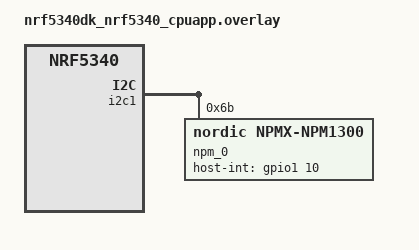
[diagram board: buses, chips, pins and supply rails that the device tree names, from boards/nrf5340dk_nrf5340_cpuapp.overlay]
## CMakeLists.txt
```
#
# Copyright (c) 2022 Nordic Semiconductor ASA
#
# SPDX-License-Identifier: BSD-3-Clause
#

cmake_minimum_required(VERSION 3.20.0)
find_package(Zephyr REQUIRED HINTS $ENV{ZEPHYR_BASE})
project(pmic_buck)

FILE(GLOB app_sources src/*.c)
target_sources(app PRIVATE ${app_sources})
```

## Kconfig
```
#
# Copyright (c) 2022 Nordic Semiconductor ASA
#
# SPDX-License-Identifier: BSD-3-Clause
#

mainmenu "BUCK sample"

choice
	bool "Testcase selection."
	default TESTCASE_SET_BUCK_VOLTAGE

config TESTCASE_SET_BUCK_VOLTAGE
	bool "Set output voltage of BUCK1 (simple)."

config TESTCASE_OUTPUT_VOLTAGE
	bool "Set output voltage of BUCK1 (advanced)."

config TESTCASE_RETENTION_VOLTAGE
	bool "Set retention voltage of BUCK1 with selected external pin."

config TESTCASE_ENABLE_BUCKS_USING_PIN
	bool "Set enable mode of BUCK1 with selected external pin."

endchoice

source "Kconfig.zephyr"
```

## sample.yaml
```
#
# Copyright (c) 2023 Nordic Semiconductor ASA
#
# SPDX-License-Identifier: BSD-3-Clause
#

sample:
  description: Sample for nPM1300 PMIC BUCKs
  name: nPM1300 PMIC BUCKs

common:
  integration_platforms:
    - nrf5340dk_nrf5340_cpuapp
    - nrf52840dk_nrf52840
  platform_allow: nrf5340dk_nrf5340_cpuapp nrf52840dk_nrf52840
  tags: pmic
  timeout: 30

tests:
  sample.buck.set_buck_voltage:
    extra_args: CONFIG_TESTCASE_SET_BUCK_VOLTAGE=y
                CONFIG_NPMX_DEVICE_NPM1300=y
    harness: console
    harness_config:
      fixture: nPM1300_setup
      type: multi_line
      ordered: true
      regex:
        - "PMIC device OK."
        - "Test setting buck voltage."
        - "Test setting buck voltage OK."

  sample.buck.output_voltage:
    extra_args: CONFIG_TESTCASE_OUTPUT_VOLTAGE=y
                CONFIG_NPMX_DEVICE_NPM1300=y
    harness: console
    harness_config:
      fixture: nPM1300_setup
      type: multi_line
      ordered: true
      regex:
        - "PMIC device OK."
        - "Test output voltage."
        - "Voltage BUCK1:"
        - "Test output voltage OK."

  sample.buck.retention_voltage:
    extra_args: CONFIG_TESTCASE_RETENTION_VOLTAGE=y
                CONFIG_NPMX_DEVICE_NPM1300=y
    harness: console
    harness_config:
      fixture: nPM1300_setup
      type: multi_line
      ordered: true
      regex:
        - "PMIC device OK."
        - "Test retention voltage."
        - "Test retention voltage OK."

  sample.buck.enable_bucks_using_pin:
    extra_args: CONFIG_TESTCASE_ENABLE_BUCKS_USING_PIN=y
                CONFIG_NPMX_DEVICE_NPM1300=y
    harness: console
    harness_config:
      fixture: nPM1300_setup
      type: multi_line
      ordered: true
      regex:
        - "PMIC device OK."
        - "Test enable buck using connected pin."
        - "Test enable buck using connected pin OK."
```

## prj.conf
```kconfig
#
# Copyright (c) 2022-2023 Nordic Semiconductor ASA
#
# SPDX-License-Identifier: BSD-3-Clause
#

CONFIG_SERIAL=y
CONFIG_CONSOLE=y
CONFIG_UART_CONSOLE=y

CONFIG_I2C=y
CONFIG_NPMX=y
CONFIG_NPMX_DEVICE_NPM1300=y
CONFIG_LOG=y
CONFIG_NPMX_LOG_LEVEL_DBG=y
CONFIG_SHELL=y
CONFIG_ASSERT=y

# Core Dump configuraion
CONFIG_DEBUG_COREDUMP=y
CONFIG_DEBUG_COREDUMP_BACKEND_LOGGING=y
```

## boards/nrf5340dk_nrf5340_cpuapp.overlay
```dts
/*
 * Copyright (c) 2022-2023 Nordic Semiconductor ASA
 *
 * SPDX-License-Identifier: BSD-3-Clause
 */

&i2c1 {
	compatible = "nordic,nrf-twim";
	status = "okay";

	npm_0: npm1300@6b {
		status = "okay";
		compatible = "nordic,npmx-npm1300";
		reg = <0x6b>;
		host-int-gpios = <&gpio1 10 (GPIO_PULL_DOWN | GPIO_ACTIVE_HIGH)>;
		pmic-int-pin = <0>;
	};
};

&i2c1_default {
	group1 {
		bias-pull-up;
	};
};
```

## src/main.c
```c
/*
 * Copyright (c) 2022-2023 Nordic Semiconductor ASA
 *
 * SPDX-License-Identifier: BSD-3-Clause
 */

#include <zephyr/logging/log.h>
#include <zephyr/kernel.h>
#include <npmx_buck.h>
#include <npmx_driver.h>
#include <npmx_gpio.h>

#define LOG_MODULE_NAME pmic_buck
LOG_MODULE_REGISTER(LOG_MODULE_NAME);

/* Values used to refer to the specified buck converter instance. */
#define BUCK1_IDX 0
#define BUCK2_IDX 1

#if CONFIG_TESTCASE_SET_BUCK_VOLTAGE || CONFIG_TESTCASE_OUTPUT_VOLTAGE ||                          \
     CONFIG_TESTCASE_ENABLE_BUCKS_USING_PIN
/**
 * @brief Function for setting the buck output voltage for the specified buck converter.
 *
 * @param[in] p_buck  Pointer to the instance of buck converter.
 * @param[in] voltage Selected voltage.
 *
 * @retval NPMX_SUCCESS  Operation performed successfully.
 * @retval NPMX_ERROR_IO Error using IO bus line.
 */
static npmx_error_t set_buck_voltage(npmx_buck_t *p_buck, npmx_buck_voltage_t voltage)
{
	npmx_error_t status;

	/* Set the output voltage. */
	status = npmx_buck_normal_voltage_set(p_buck, voltage);
	if (status != NPMX_SUCCESS) {
		LOG_ERR("Unable to set normal voltage.");
		return status;
	}

	/* Have to be called each time to change output voltage. */
	status = npmx_buck_vout_select_set(p_buck, NPMX_BUCK_VOUT_SELECT_SOFTWARE);
	if (status != NPMX_SUCCESS) {
		LOG_ERR("Unable to select vout reference.");
		return status;
	}
	return NPMX_SUCCESS;
}
#endif

#if CONFIG_TESTCASE_SET_BUCK_VOLTAGE
/**
 * @brief Function for testing simple use-case of buck voltage.
 *
 * @param[in] p_buck Pointer to the instance of buck converter.
 */
static void test_set_buck_voltage(npmx_buck_t *p_buck)
{
	LOG_INF("Test setting buck voltage.");

	/* Set output voltage for buck converter. */
	if (set_buck_voltage(p_buck, NPMX_BUCK_VOLTAGE_2V4) != NPMX_SUCCESS) {
		LOG_ERR("Unable to set buck voltage.");
		return;


    }

	LOG_INF("Test setting buck voltage OK.");
}
#endif

#if CONFIG_TESTCASE_OUTPUT_VOLTAGE
/**
 * @brief Function for reading and logging selected voltage
 *        from the specified buck converter instance.
 *
 * This function does not read the actual output voltage of the buck converter. For this sample, it
 * is used only to read and log voltage for BUCK1.
 *
 * @param[in] p_buck Pointer to the instance of buck converter.
 */
static void get_and_log_voltage(npmx_buck_t *p_buck)
{
	npmx_buck_voltage_t buck_voltage;

	if (npmx_buck_status_voltage_get(p_buck, &buck_voltage) != NPMX_SUCCESS) {
		LOG_ERR("Unable to get voltage status.");
	}

	uint32_t voltage_mv;

	if (npmx_buck_voltage_convert_to_mv(buck_voltage, &voltage_mv)) {
		LOG_INF("Voltage BUCK1: %u mV.", voltage_mv);
	} else {
		LOG_ERR("Unable to convert voltage value to mV.");
	}
}

/**
 * @brief Function for testing buck voltage range,
 *        from start_voltage to NPMX_BUCK_VOLTAGE_MAX with step every 200 ms.
 *
 * @param[in] p_buck        Pointer to the instance of buck converter.
 * @param[in] start_voltage Start test voltage level.
 */
static void verify_buck_voltage(npmx_buck_t *p_buck, npmx_buck_voltage_t start_voltage)
{
	for (uint8_t i = start_voltage; i <= NPMX_BUCK_VOLTAGE_MAX; i++) {
		/* Set the expected output voltage. */
		set_buck_voltage(p_buck, (npmx_buck_voltage_t)i);

		/* Wait some time to stabilize and measure the output voltage. */
		k_msleep(200);

		/* Check in PMIC device which voltage is selected. */
		get_and_log_voltage(p_buck);
	}
}

/**
 * @brief Function for testing the output voltage of BUCK1.
 *
 * @param[in] p_buck Pointer to the instance of buck converter.
 */
static void test_output_voltage(npmx_buck_t *p_buck)
{
	LOG_INF("Test output voltage.");

	npmx_error_t status;

	/* Voltage output testing for BUCK1. */
	verify_buck_voltage(p_buck, NPMX_BUCK_VOLTAGE_1V0);

	/* Go back to nominal voltage based on connected resistors.
	 * Note: without the load on output pins,
	 * the voltage can drop down a little slow.
	 */
	status = npmx_buck_vout_select_set(p_buck, NPMX_BUCK_VOUT_SELECT_VSET_PIN);
	if (status != NPMX_SUCCESS) {
		LOG_ERR("Unable to select vout reference.");
		return;
	}

	get_and_log_voltage(p_buck);

	LOG_INF("Test output voltage OK.");
}
#endif

#if CONFIG_TESTCASE_RETENTION_VOLTAGE
/**
 * @brief Function for testing the retention voltage with the selected external pin.
 *
 * @param[in] p_buck Pointer to the instance of buck converter.
 * @param[in] p_gpio Pointer to the instance of GPIO used for controlling retention mode.
 */
static void test_retention_voltage(npmx_buck_t *p_buck, npmx_gpio_t *p_gpio)
{
	LOG_INF("Test retention voltage.");

	npmx_error_t status;

	/* Switch GPIO1 to input mode. */
	status = npmx_gpio_mode_set(p_gpio, NPMX_GPIO_MODE_INPUT);
	if (status != NPMX_SUCCESS) {
		LOG_ERR("Unable to switch GPIO1 to input mode.");
		return;
	}

	/* Select voltages: in normal mode should be 1.7 V, in retention mode should be 3.3 V. */
	status = npmx_buck_normal_voltage_set(p_buck, NPMX_BUCK_VOLTAGE_1V7);
	if (status != NPMX_SUCCESS) {
		LOG_ERR("Unable to set normal voltage.");
		return;
	}

	status = npmx_buck_retention_voltage_set(p_buck, NPMX_BUCK_VOLTAGE_3V3);
	if (status != NPMX_SUCCESS) {
		LOG_ERR("Unable to set retention voltage.");
		return;
	}

	/* Apply voltages. */
	status = npmx_buck_vout_select_set(p_buck, NPMX_BUCK_VOUT_SELECT_SOFTWARE);
	if (status != NPMX_SUCCESS) {
		LOG_ERR("Unable to select vout reference.");
		return;
	}

	/* Configuration for external pin. If inversion is false,
	 * retention is active when GPIO1 is in high state.
	 */
	npmx_buck_gpio_config_t config = { .gpio = NPMX_BUCK_GPIO_1, .inverted = false };

	/* Set GPIO configuration to buck instance. */
	status = npmx_buck_retention_gpio_config_set(p_buck, &config);
	if (status != NPMX_SUCCESS) {
		LOG_ERR("Unable to select retention GPIO.");
		return;
	}

	LOG_INF("Test retention voltage OK.");
}
#endif

#if CONFIG_TESTCASE_ENABLE_BUCKS_USING_PIN
/**
 * @brief Function for testing enable mode with the selected external pin.
 *
 * @param[in] p_buck Pointer to the instance of buck converter.
 * @param[in] p_gpio Pointer to the instance of GPIO used to enable buck.
 */
static void test_enable_bucks_using_pin(npmx_buck_t *p_buck, npmx_gpio_t *p_gpio)
{
	LOG_INF("Test enable buck using connected pin.");

	/* Disable buck converter for testing. */
	if (npmx_buck_task_trigger(p_buck, NPMX_BUCK_TASK_DISABLE) != NPMX_SUCCESS) {
		LOG_ERR("Unable to disable buck.");
		return;
	}

	/* Switch GPIO3 to input mode. */
	if (npmx_gpio_mode_set(p_gpio, NPMX_GPIO_MODE_INPUT) != NPMX_SUCCESS) {
		LOG_ERR("Unable to switch GPIO3 to input mode.");
		return;
	}

	/* Select output voltage to be 3.3 V. */
	set_buck_voltage(p_buck, NPMX_BUCK_VOLTAGE_3V3);

	/* Configuration for external pin. If inversion is false, */
	/* BUCK1 is active when GPIO1 is in high state. */
	npmx_buck_gpio_config_t config = { .gpio = NPMX_BUCK_GPIO_3, .inverted = false };

	/* When GPIO3 changes to high state, BUCK1 will start working. */
	if (npmx_buck_enable_gpio_config_set(p_buck, &config) != NPMX_SUCCESS) {
		LOG_ERR("Unable to connect GPIO3 to BUCK1.");
		return;
	}

	/* Enable active discharge, so that the capacitor discharges faster,
	 * when there is no load connected to PMIC.
	 */
	if (npmx_buck_active_discharge_enable_set(p_buck, true) != NPMX_SUCCESS) {
		LOG_ERR("Unable to activate auto discharge mode.");
		return;
	}

	LOG_INF("Test enable buck using connected pin OK.");
}
#endif

void main(void)
{
	const struct device *pmic_dev = DEVICE_DT_GET(DT_NODELABEL(npm_0));

	if (!device_is_ready(pmic_dev)) {
		LOG_INF("PMIC device is not ready.");
		return;
	}

	LOG_INF("PMIC device OK.");

	npmx_instance_t *npmx_instance = npmx_driver_instance_get(pmic_dev);

	npmx_buck_t *bucks[] = { npmx_buck_get(npmx_instance, BUCK1_IDX),
				 npmx_buck_get(npmx_instance, BUCK2_IDX) };

	/* After reset, buck converters are enabled by default,
	 * but to be sure, enable both at the beginning of the testing.
	 */
	npmx_buck_task_trigger(bucks[BUCK1_IDX], NPMX_BUCK_TASK_ENABLE);
	npmx_buck_task_trigger(bucks[BUCK2_IDX], NPMX_BUCK_TASK_ENABLE);

#if CONFIG_TESTCASE_SET_BUCK_VOLTAGE
	test_set_buck_voltage(bucks[BUCK1_IDX]);
#elif CONFIG_TESTCASE_OUTPUT_VOLTAGE
	test_output_voltage(bucks[BUCK1_IDX]);
#elif CONFIG_TESTCASE_RETENTION_VOLTAGE
	test_retention_voltage(bucks[BUCK1_IDX], npmx_gpio_get(npmx_instance, 1));
#elif CONFIG_TESTCASE_ENABLE_BUCKS_USING_PIN
	test_enable_bucks_using_pin(bucks[BUCK1_IDX], npmx_gpio_get(npmx_instance, 3));
#endif

	while (1) {
		k_sleep(K_FOREVER);
	}
}
```
